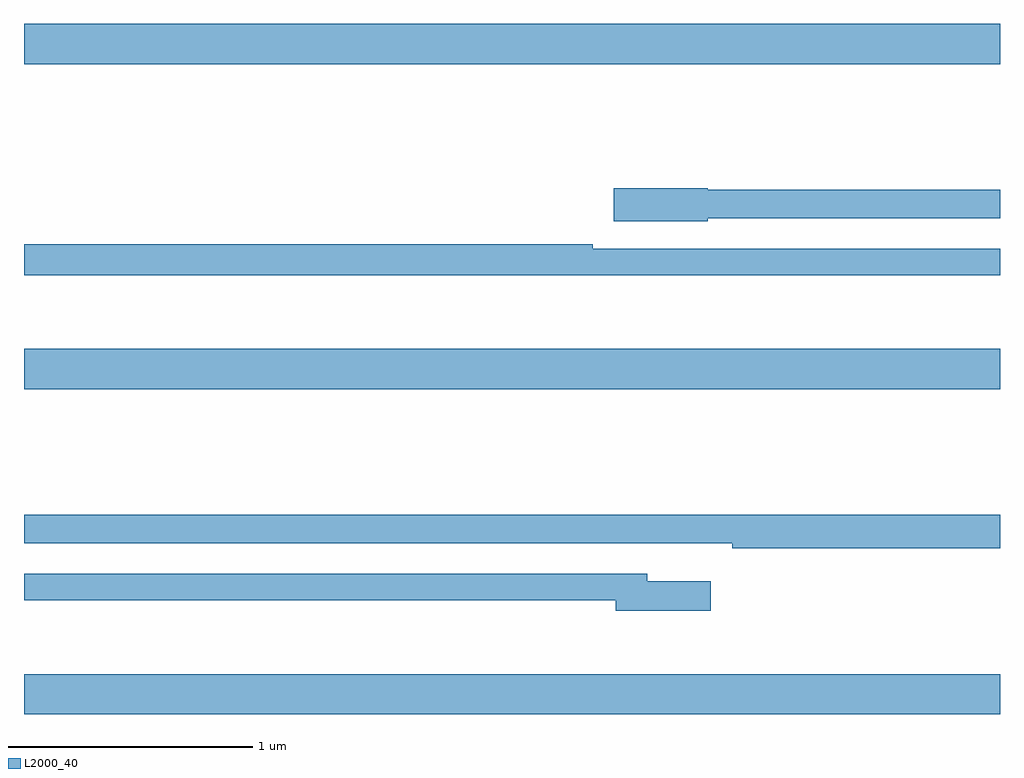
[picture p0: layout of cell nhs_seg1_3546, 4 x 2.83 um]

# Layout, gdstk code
import gdstk
lib = gdstk.Library(unit=1e-6, precision=1e-09)
def R(c, l, rs):  # rectangles x0, y0, x1, y1
    for r in rs: c.add(gdstk.rectangle(r[:2], r[2:], *l))
def A(c, l, x, y, w, h, nx, ny, dx, dy):  # array of equal rectangles
    R(c, l, [(x+i*dx, y+j*dy, x+i*dx+w, y+j*dy+h) for i in range(nx) for j in range(ny)])
def P(c, l, *ps):  # polygons
    for p in ps: c.add(gdstk.Polygon(p, *l))
L2000_40 = (2000, 40)

nhs_seg1_3546 = lib.new_cell('nhs_seg1_3546')
A(nhs_seg1_3546, L2000_40, 303, 578.372, 4, 0.164, 1, 3, 0, 1.332)
P(nhs_seg1_3546, L2000_40, [(305.802,580.404),(307,580.404),(307,580.52),(305.802,580.52),(305.802,580.526),(305.418,580.526),(305.418,580.391),(305.802,580.391)],
  [(307,580.278),(305.33,580.278),(305.33,580.298),(303,580.298),(303,580.17),(307,580.17)],
  [(307,579.188),(303,579.188),(303,579.072),(305.65,579.072),(305.65,579.071),(305.902,579.071),(305.902,579.052),(307,579.052)],
  [(305.815,578.917),(305.554,578.917),(305.554,578.946),(303,578.946),(303,578.838),(305.426,578.838),(305.426,578.795),(305.815,578.795)])

lib.write_gds('nhs_seg1_3546.gds')
